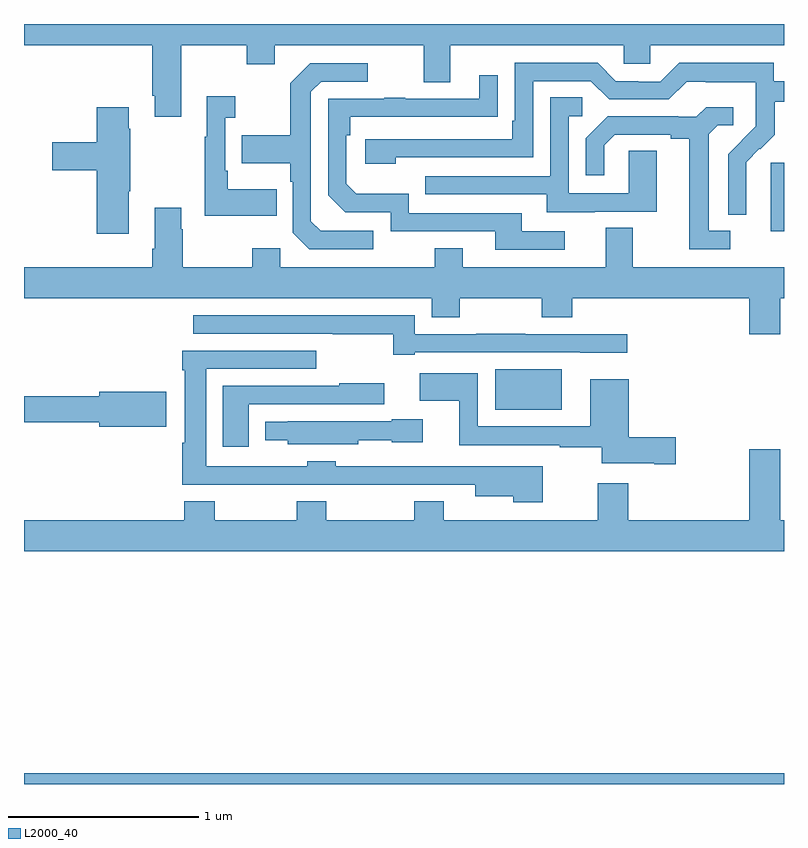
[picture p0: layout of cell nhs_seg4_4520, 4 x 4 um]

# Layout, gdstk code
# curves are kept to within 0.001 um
import gdstk
lib = gdstk.Library(unit=1e-6, precision=1e-09)
def R(c, l, rs):  # rectangles x0, y0, x1, y1
    for r in rs: c.add(gdstk.rectangle(r[:2], r[2:], *l))
def P(c, l, *ps):  # polygons
    for p in ps: c.add(gdstk.Polygon(p, *l))
L2000_40 = (2000, 40)

nhs_seg4_4520 = lib.new_cell('nhs_seg4_4520')
R(nhs_seg4_4520, L2000_40, [(353,824.9,357,824.956), (355.481,826.871,355.831,827.083), (356.93,827.81,357,828.171)])
P(nhs_seg4_4520, L2000_40, [(353,828.788),(353.675,828.788),(353.675,828.523),(353.687,828.523),(353.687,828.411),(353.827,828.411),(353.827,828.788),(354.172,828.788),(354.172,828.689),(354.319,828.689),(354.319,828.788),(355.103,828.788),(355.103,828.594),(355.243,828.594),(355.243,828.788),(356.157,828.788),(356.157,828.69),(356.295,828.69),(356.295,828.788),(357,828.788),(357,828.9),(353,828.9)],
  [(356.802,828.05),(356.801,828.173),(356.871,828.243),(356.874,828.24),(356.951,828.317),(356.951,828.492),(357,828.492),(357,828.6),(356.946,828.6),(356.946,828.697),(356.449,828.697),(356.349,828.597),(356.234,828.597),(356.234,828.6),(356.115,828.6),(356.019,828.696),(355.584,828.696),(355.584,828.391),(355.571,828.391),(355.571,828.294),(354.795,828.294),(354.795,828.164),(354.956,828.164),(354.956,828.198),(355.68,828.198),(355.68,828.6),(355.983,828.6),(356.079,828.504),(356.394,828.504),(356.487,828.597),(356.587,828.597),(356.587,828.593),(356.85,828.593),(356.85,828.459),(356.852,828.459),(356.852,828.362),(356.706,828.214),(356.706,827.896),(356.802,827.896)],
  [(354.838,827.811),(354.561,827.811),(354.51,827.862),(354.51,828.543),(354.564,828.597),(354.808,828.597),(354.808,828.693),(354.507,828.693),(354.402,828.587),(354.402,828.315),(354.145,828.315),(354.145,828.167),(354.402,828.167),(354.402,828.071),(354.414,828.071),(354.414,827.802),(354.501,827.715),(354.838,827.715)],
  [(355.846,827.808),(355.621,827.808),(355.621,827.904),(355.026,827.904),(355.026,828.007),(354.749,828.007),(354.696,828.06),(354.696,828.314),(354.716,828.314),(354.716,828.411),(355.493,828.412),(355.493,828.631),(355.397,828.631),(355.397,828.507),(355.007,828.507),(355.007,828.512),(354.895,828.512),(354.895,828.507),(354.6,828.507),(354.6,828),(354.69,827.91),(354.93,827.91),(354.93,827.808),(355.481,827.808),(355.481,827.712),(355.846,827.712)],
  [(354.329,828.031),(354.073,828.031),(354.073,828.127),(354.06,828.127),(354.06,828.407),(354.112,828.407),(354.112,828.52),(353.963,828.52),(353.963,828.307),(353.952,828.307),(353.952,827.891),(354.329,827.891)],
  [(356.005,827.913),(356.329,827.913),(356.329,828.233),(356.184,828.233),(356.184,828.009),(355.866,828.009),(355.866,828.414),(355.939,828.414),(355.939,828.515),(355.77,828.515),(355.77,828.099),(355.111,828.099),(355.111,828.003),(355.751,828.003),(355.751,827.909),(356.005,827.909)],
  [(356.716,827.811),(356.605,827.811),(356.605,828.319),(356.652,828.366),(356.734,828.366),(356.734,828.463),(356.59,828.463),(356.538,828.411),(356.444,828.411),(356.444,828.414),(356.072,828.414),(355.956,828.298),(355.956,828.105),(356.053,828.105),(356.053,828.261),(356.11,828.318),(356.405,828.318),(356.405,828.296),(356.501,828.296),(356.501,827.715),(356.716,827.715)],
  [(353.551,828.019),(353.559,828.019),(353.559,828.35),(353.551,828.35),(353.551,828.463),(353.384,828.463),(353.384,828.278),(353.148,828.278),(353.148,828.131),(353.384,828.131),(353.384,827.796),(353.551,827.796)],
  [(356.98,827.456),(357,827.456),(357,827.62),(356.203,827.62),(356.203,827.828),(356.063,827.828),(356.063,827.62),(355.309,827.62),(355.309,827.719),(355.162,827.719),(355.162,827.62),(354.348,827.62),(354.348,827.719),(354.202,827.719),(354.202,827.62),(353.835,827.62),(353.835,827.819),(353.827,827.819),(353.827,827.932),(353.687,827.932),(353.687,827.716),(353.675,827.716),(353.675,827.62),(353,827.62),(353,827.456),(355.145,827.456),(355.145,827.357),(355.293,827.357),(355.293,827.456),(355.726,827.456),(355.726,827.357),(355.886,827.357),(355.886,827.456),(356.816,827.456),(356.816,827.268),(356.98,827.268)],
  [(355.057,827.172),(355.927,827.172),(355.927,827.171),(356.176,827.171),(356.176,827.268),(355.637,827.268),(355.637,827.27),(355.381,827.27),(355.381,827.268),(355.057,827.268),(355.057,827.367),(353.892,827.367),(353.892,827.271),(354.625,827.271),(354.625,827.266),(354.943,827.266),(354.943,827.16),(355.057,827.16)],
  [(355.731,826.573),(355.48,826.573),(355.48,826.572),(354.642,826.572),(354.642,826.6),(354.492,826.6),(354.492,826.572),(353.959,826.572),(353.959,827.085),(354.538,827.085),(354.538,827.181),(353.834,827.181),(353.834,827.078),(353.846,827.078),(353.846,826.697),(353.834,826.697),(353.834,826.475),(354.965,826.475),(354.965,826.476),(355.376,826.476),(355.376,826.415),(355.576,826.415),(355.576,826.382),(355.731,826.382)],
  [(356.431,826.724),(356.182,826.724),(356.182,827.029),(355.979,827.029),(355.979,826.783),(355.389,826.783),(355.389,827.062),(355.083,827.062),(355.083,826.916),(355.292,826.916),(355.292,826.682),(355.819,826.682),(355.819,826.672),(356.042,826.672),(356.042,826.589),(356.318,826.589),(356.318,826.582),(356.431,826.582)],
  [(354.184,826.899),(354.895,826.899),(354.895,827.008),(354.659,827.008),(354.659,826.995),(354.047,826.995),(354.047,826.674),(354.184,826.674)],
  [(353.749,826.964),(353.396,826.964),(353.396,826.94),(353,826.94),(353,826.804),(353.396,826.804),(353.396,826.781),(353.749,826.781)],
  [(354.759,826.709),(354.936,826.709),(354.936,826.7),(355.099,826.7),(355.099,826.821),(354.936,826.821),(354.936,826.81),(354.387,826.81),(354.387,826.806),(354.269,826.806),(354.269,826.709),(354.387,826.709),(354.387,826.688),(354.759,826.688)],
  [(356.816,826.663),(356.816,826.288),(356.18,826.288),(356.18,826.483),(356.02,826.483),(356.02,826.288),(355.209,826.288),(355.209,826.387),(355.054,826.387),(355.054,826.288),(354.591,826.288),(354.591,826.387),(354.436,826.387),(354.436,826.288),(354.003,826.288),(354.003,826.387),(353.843,826.387),(353.843,826.288),(353,826.288),(353,826.124),(357,826.124),(357,826.288),(356.98,826.288),(356.98,826.663)])

lib.write_gds('nhs_seg4_4520.gds')
